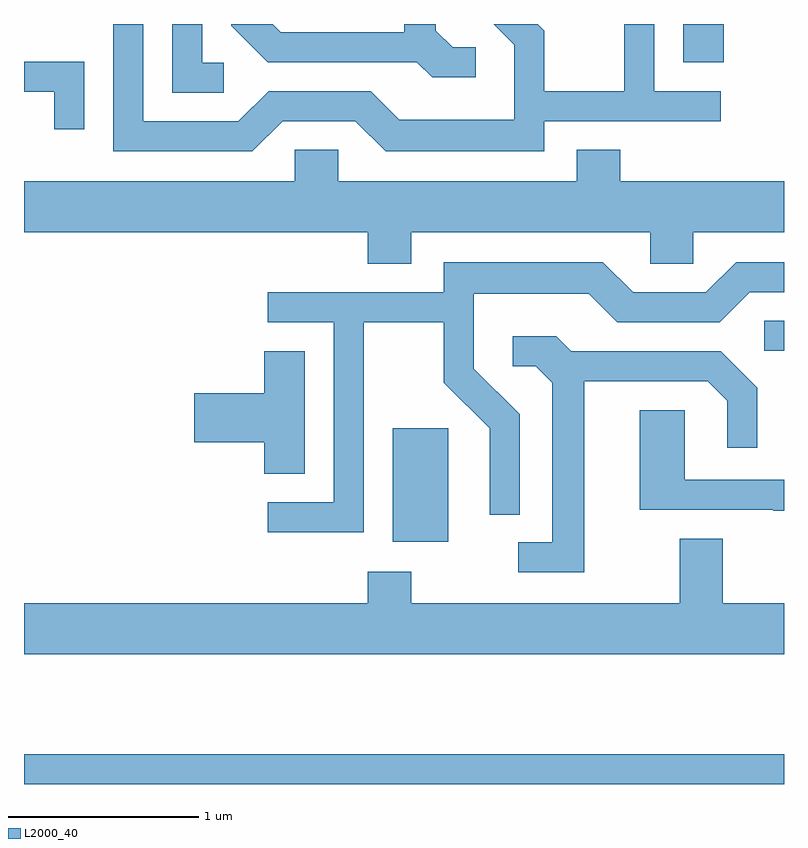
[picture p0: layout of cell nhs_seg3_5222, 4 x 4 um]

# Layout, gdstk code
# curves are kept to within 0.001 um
import gdstk
lib = gdstk.Library(unit=1e-6, precision=1e-09)
def R(c, l, rs):  # rectangles x0, y0, x1, y1
    for r in rs: c.add(gdstk.rectangle(r[:2], r[2:], *l))
def P(c, l, *ps):  # polygons
    for p in ps: c.add(gdstk.Polygon(p, *l))
L2000_40 = (2000, 40)

nhs_seg3_5222 = lib.new_cell('nhs_seg3_5222')
R(nhs_seg3_5222, L2000_40, [(337.611,1231.892,341.611,1232.049), (339.551,1233.166,339.844,1233.764), (341.508,1234.171,341.611,1234.329), (341.081,1235.691,341.294,1235.892)])
P(nhs_seg3_5222, L2000_40, [(338.972,1235.381),(339.354,1235.381),(339.514,1235.221),(340.349,1235.221),(340.349,1235.381),(341.278,1235.381),(341.278,1235.539),(340.929,1235.539),(340.929,1235.892),(340.771,1235.892),(340.771,1235.539),(340.349,1235.539),(340.349,1235.857),(340.314,1235.892),(340.083,1235.892),(340.191,1235.784),(340.191,1235.389),(339.587,1235.389),(339.437,1235.539),(338.899,1235.539),(338.739,1235.379),(338.239,1235.379),(338.239,1235.892),(337.611,1235.892),(338.081,1235.891),(338.081,1235.221),(338.812,1235.221)],
  [(338.663,1235.689),(338.549,1235.689),(338.549,1235.892),(338.391,1235.892),(338.391,1235.531),(338.663,1235.531)],
  [(339.988,1235.769),(339.867,1235.769),(339.779,1235.857),(339.779,1235.892),(339.611,1235.892),(339.611,1235.849),(338.962,1235.849),(338.919,1235.892),(338.701,1235.892),(338.701,1235.884),(338.894,1235.691),(339.679,1235.691),(339.759,1235.611),(339.988,1235.611)],
  [(337.929,1235.694),(337.611,1235.694),(337.611,1235.536),(337.771,1235.536),(337.771,1235.338),(337.929,1235.338)],
  [(339.649,1234.796),(340.906,1234.796),(340.906,1234.631),(341.134,1234.631),(341.134,1234.796),(341.611,1234.796),(341.611,1235.064),(340.749,1235.064),(340.749,1235.229),(340.521,1235.229),(340.521,1235.064),(339.264,1235.064),(339.264,1235.229),(339.036,1235.229),(339.036,1235.064),(337.611,1235.064),(337.611,1234.796),(339.421,1234.796),(339.421,1234.631),(339.649,1234.631)],
  [(339.399,1234.321),(339.821,1234.321),(339.821,1234.004),(340.061,1233.764),(340.061,1233.308),(340.219,1233.308),(340.219,1233.837),(339.979,1234.077),(339.979,1234.471),(340.584,1234.471),(340.734,1234.321),(341.272,1234.321),(341.432,1234.481),(341.611,1234.481),(341.611,1234.639),(341.359,1234.639),(341.199,1234.479),(340.817,1234.479),(340.657,1234.639),(339.821,1234.639),(339.821,1234.479),(338.893,1234.479),(338.893,1234.321),(339.241,1234.321),(339.241,1233.374),(338.893,1233.374),(338.893,1233.216),(339.399,1233.216)],
  [(340.559,1234.011),(341.209,1234.011),(341.311,1233.909),(341.311,1233.663),(341.469,1233.663),(341.469,1233.977),(341.277,1234.169),(340.492,1234.169),(340.412,1234.249),(340.183,1234.249),(340.183,1234.091),(340.304,1234.091),(340.391,1234.004),(340.391,1233.164),(340.213,1233.164),(340.213,1233.006),(340.559,1233.006)],
  [(339.089,1234.169),(338.876,1234.169),(338.876,1233.949),(338.506,1233.949),(338.506,1233.691),(338.876,1233.691),(338.876,1233.526),(339.089,1233.526)],
  [(341.611,1233.494),(341.089,1233.494),(341.089,1233.859),(340.851,1233.859),(340.851,1233.336),(341.555,1233.336),(341.555,1233.331),(341.611,1233.331)],
  [(339.421,1233.009),(339.421,1232.844),(337.611,1232.844),(337.611,1232.576),(341.611,1232.576),(341.611,1232.844),(341.289,1232.844),(341.289,1233.184),(341.061,1233.184),(341.061,1232.844),(339.649,1232.844),(339.649,1233.009)])

lib.write_gds('nhs_seg3_5222.gds')
